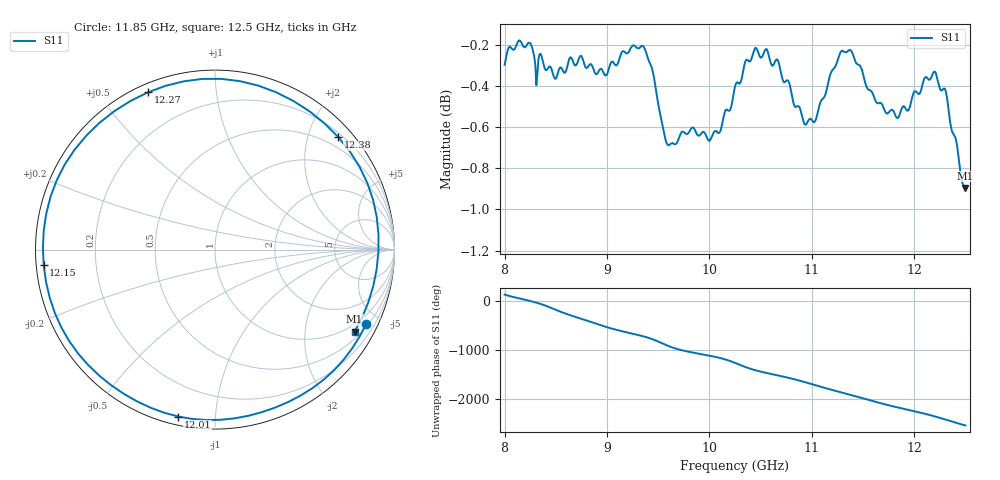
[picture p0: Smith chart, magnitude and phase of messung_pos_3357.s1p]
#  HZ  S  RI  R  50.00
! Rohde & Schwarz Vector Network Analyzer
! Rohde-Schwarz,ZNA43-4Port,1332450044101932,2.92
! Created: UTC 6/1/2026, 11:35:08 AM
! freq[Hz]  re:S11  im:S11
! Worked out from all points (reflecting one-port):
!   451 points, 8 GHz to 12.5 GHz, reference 50 ohm
!   lowest |S11| = -0.9 dB at 12.5 GHz (marker M1), VSWR 19.42, Z = 36.2 - j177 ohm
!   phase of S11 starts at 140 deg and turns -2690 deg over the sweep
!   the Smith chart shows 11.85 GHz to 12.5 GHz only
!   S11 on the Smith chart (normalised r, x): 11.85 GHz: 0.61, -4.22; 12.01 GHz: 0.04, -0.80; 12.15 GHz: 0.02, -0.04; 12.27 GHz: 0.03, +0.66; 12.38 GHz: 0.28, +2.56; 12.5 GHz: 0.72, -3.54
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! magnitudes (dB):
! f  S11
! 8 GHz  -0.3
! 8.15 GHz  -0.2
! 8.25 GHz  -0.2
! 8.31 GHz  -0.4
! 8.57 GHz  -0.3
! 8.74 GHz  -0.3
! 8.99 GHz  -0.3
! 9.13 GHz  -0.3
! 9.36 GHz  -0.2
! 9.44 GHz  -0.3
! 9.58 GHz  -0.7
! 9.69 GHz  -0.7
! 10.09 GHz  -0.6
! 10.25 GHz  -0.4
! 10.44 GHz  -0.2
! 10.55 GHz  -0.2
! 10.82 GHz  -0.5
! 11.03 GHz  -0.6
! 11.28 GHz  -0.2
! 11.38 GHz  -0.2
! 11.63 GHz  -0.5
! 11.85 GHz  -0.5
! 11.94 GHz  -0.5
! 12.01 GHz  -0.4
! 12.15 GHz  -0.4
! 12.27 GHz  -0.4
! 12.38 GHz  -0.6
! 12.5 GHz  -0.9
